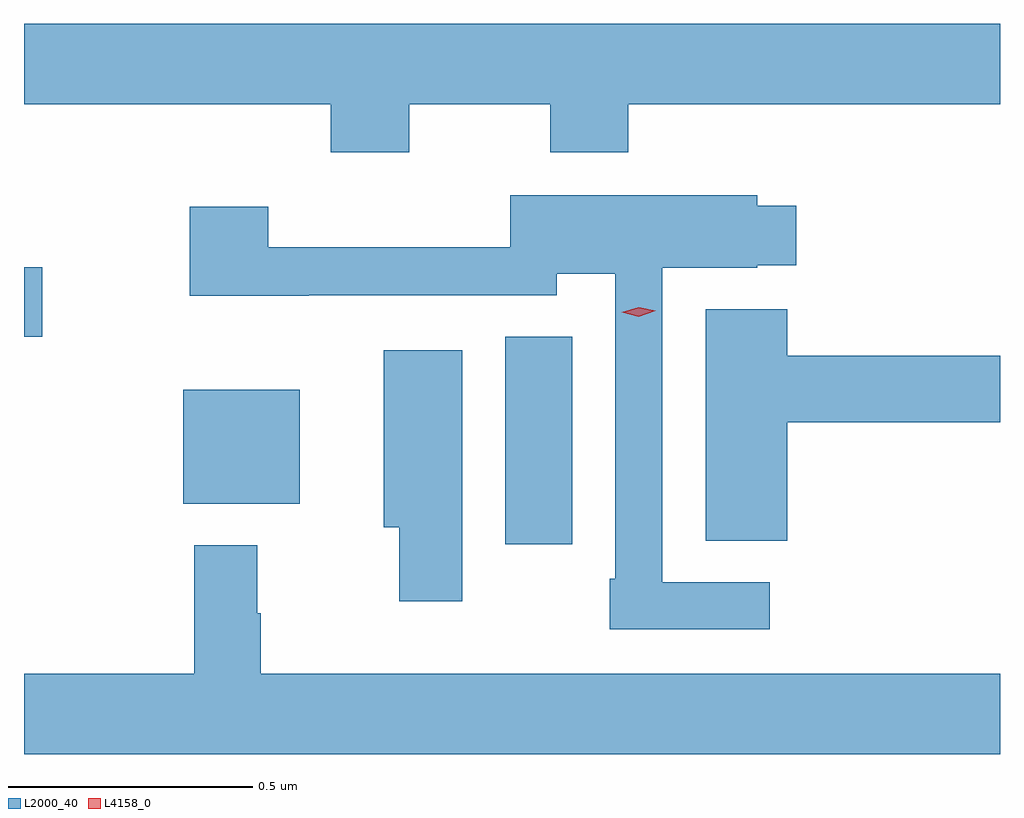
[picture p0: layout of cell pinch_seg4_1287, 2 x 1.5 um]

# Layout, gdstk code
import gdstk
lib = gdstk.Library(unit=1e-6, precision=1e-09)
def R(c, l, rs):  # rectangles x0, y0, x1, y1
    for r in rs: c.add(gdstk.rectangle(r[:2], r[2:], *l))
def P(c, l, *ps):  # polygons
    for p in ps: c.add(gdstk.Polygon(p, *l))
L2000_40 = (2000, 40)
L4158_0 = (4158, 0)

pinch_seg4_1287 = lib.new_cell('pinch_seg4_1287')
R(pinch_seg4_1287, L2000_40, [(234.614,754.626,234.751,755.051), (233.954,754.709,234.193,754.942), (233.628,755.051,233.665,755.193)])
P(pinch_seg4_1287, L2000_40, [(234.417,755.528),(234.706,755.528),(234.706,755.429),(234.866,755.429),(234.866,755.528),(235.628,755.528),(235.628,755.692),(233.628,755.692),(233.628,755.528),(234.257,755.528),(234.257,755.429),(234.417,755.429)],
  [(235.156,754.548),(234.936,754.548),(234.936,755.192),(235.131,755.192),(235.131,755.198),(235.21,755.198),(235.21,755.32),(235.131,755.32),(235.131,755.341),(234.624,755.341),(234.624,755.234),(234.128,755.234),(234.128,755.317),(233.968,755.317),(233.968,755.135),(234.211,755.135),(234.211,755.136),(234.72,755.136),(234.72,755.18),(234.84,755.18),(234.84,754.555),(234.828,754.555),(234.828,754.452),(235.156,754.452)],
  [(235.192,754.876),(235.628,754.876),(235.628,755.012),(235.192,755.012),(235.192,755.107),(235.025,755.107),(235.025,754.633),(235.192,754.633)],
  [(234.526,755.023),(234.365,755.023),(234.365,754.661),(234.397,754.661),(234.397,754.509),(234.526,754.509)],
  [(235.628,754.36),(234.113,754.36),(234.113,754.484),(234.106,754.484),(234.106,754.624),(233.977,754.624),(233.977,754.36),(233.628,754.36),(233.628,754.196),(235.628,754.196)])
P(pinch_seg4_1287, L4158_0, [(234.888,755.092),(234.853,755.101),(234.853,755.101),(234.853,755.101),(234.888,755.112),(234.923,755.104),(234.923,755.104),(234.923,755.104)])

lib.write_gds('pinch_seg4_1287.gds')
